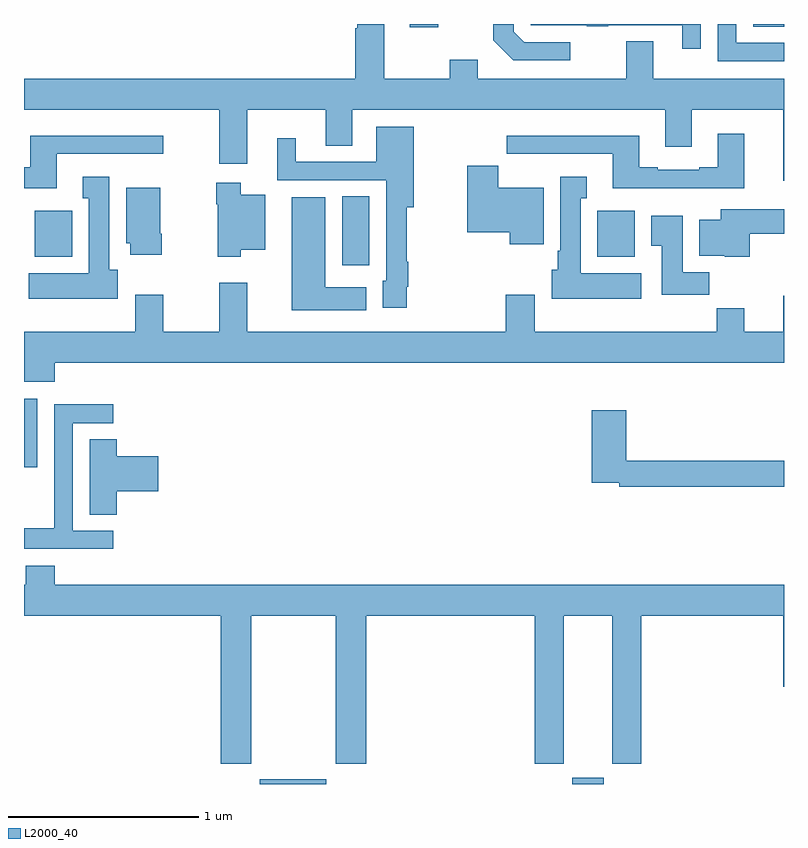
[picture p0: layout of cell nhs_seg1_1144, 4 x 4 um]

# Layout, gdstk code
import gdstk
lib = gdstk.Library(unit=1e-6, precision=1e-09)
def R(c, l, rs):  # rectangles x0, y0, x1, y1
    for r in rs: c.add(gdstk.rectangle(r[:2], r[2:], *l))
def P(c, l, *ps):  # polygons
    for p in ps: c.add(gdstk.Polygon(p, *l))
L2000_40 = (2000, 40)

nhs_seg1_1144 = lib.new_cell('nhs_seg1_1144')
R(nhs_seg1_1144, L2000_40, [(174.242,532.199,174.592,532.225), (175.886,532.199,176.05,532.233), (173,533.865,173.071,534.226), (174.674,534.93,174.817,535.292), (173.057,534.974,173.254,535.216), (176.018,534.974,176.215,535.216), (175.031,536.181,175.18,536.199), (176.838,536.185,177,536.199)])
P(nhs_seg1_1144, L2000_40, [(177,535.912),(176.311,535.912),(176.311,536.107),(176.171,536.107),(176.171,535.912),(175.387,535.912),(175.387,536.011),(175.24,536.011),(175.24,535.912),(174.895,535.912),(174.895,536.199),(174.755,536.199),(174.755,536.177),(174.743,536.177),(174.743,535.912),(173,535.912),(173,535.748),(174.028,535.748),(174.028,535.464),(174.175,535.464),(174.175,535.748),(174.587,535.748),(174.587,535.558),(174.727,535.558),(174.727,535.748),(176.375,535.748),(176.375,535.554),(176.515,535.554),(176.515,535.748),(176.996,535.748),(176.996,535.374),(177,535.374)],
  [(175.876,536.103),(175.632,536.103),(175.578,536.157),(175.578,536.199),(175.47,536.199),(175.47,536.113),(175.575,536.007),(175.876,536.007)],
  [(176.561,536.199),(175.668,536.199),(175.668,536.193),(175.963,536.193),(175.963,536.188),(176.075,536.188),(176.075,536.193),(176.465,536.193),(176.465,536.07),(176.561,536.07)],
  [(177,536.1),(176.748,536.1),(176.748,536.199),(176.652,536.199),(176.652,536.004),(177,536.004)],
  [(175.015,534.817),(175.022,534.817),(175.022,534.949),(175.015,534.949),(175.015,535.235),(175.051,535.235),(175.051,535.657),(174.854,535.657),(174.854,535.473),(174.43,535.473),(174.43,535.597),(174.332,535.597),(174.332,535.377),(174.906,535.377),(174.906,534.849),(174.887,534.849),(174.887,534.705),(175.015,534.705)],
  [(176.791,535.621),(176.651,535.621),(176.651,535.444),(176.555,535.444),(176.555,535.431),(176.335,535.431),(176.335,535.444),(176.239,535.444),(176.239,535.612),(175.542,535.612),(175.542,535.517),(175.651,535.517),(175.651,535.515),(176.099,535.515),(176.099,535.334),(176.791,535.334)],
  [(173.173,535.515),(173.734,535.515),(173.734,535.612),(173.033,535.612),(173.033,535.444),(173,535.444),(173,535.334),(173.173,535.334)],
  [(175.735,535.336),(175.495,535.336),(175.495,535.452),(175.334,535.452),(175.334,535.103),(175.556,535.103),(175.556,535.04),(175.735,535.04)],
  [(173.494,534.906),(173.449,534.906),(173.449,535.396),(173.309,535.396),(173.309,535.283),(173.342,535.283),(173.342,534.886),(173.025,534.886),(173.025,534.752),(173.494,534.752)],
  [(176.248,534.886),(175.93,534.886),(175.93,535.283),(175.963,535.283),(175.963,535.396),(175.823,535.396),(175.823,535.006),(175.808,535.006),(175.808,534.906),(175.778,534.906),(175.778,534.752),(176.248,534.752)],
  [(174.142,535.01),(174.271,535.01),(174.271,535.3),(174.142,535.3),(174.142,535.363),(174.013,535.363),(174.013,535.25),(174.02,535.25),(174.02,534.974),(174.142,534.974)],
  [(173.724,535.096),(173.716,535.096),(173.716,535.336),(173.537,535.336),(173.537,535.044),(173.558,535.044),(173.558,534.984),(173.724,534.984)],
  [(174.802,534.814),(174.586,534.814),(174.586,535.288),(174.41,535.288),(174.41,534.692),(174.802,534.692)],
  [(176.819,535.096),(177,535.096),(177,535.225),(176.666,535.225),(176.666,535.168),(176.555,535.168),(176.555,534.98),(176.688,534.98),(176.688,534.974),(176.819,534.974)],
  [(176.606,534.892),(176.467,534.892),(176.467,535.189),(176.3,535.189),(176.3,535.033),(176.357,535.033),(176.357,534.774),(176.606,534.774)],
  [(173.162,534.416),(177,534.416),(177,534.769),(176.996,534.769),(176.996,534.58),(176.791,534.58),(176.791,534.704),(176.647,534.704),(176.647,534.58),(175.687,534.58),(175.687,534.775),(175.535,534.775),(175.535,534.58),(174.175,534.58),(174.175,534.838),(174.028,534.838),(174.028,534.58),(173.733,534.58),(173.733,534.775),(173.585,534.775),(173.585,534.58),(173,534.58),(173,534.416),(173.002,534.416),(173.002,534.317),(173.162,534.317)],
  [(173.47,533.532),(173.256,533.532),(173.256,534.099),(173.47,534.099),(173.47,534.198),(173.16,534.198),(173.16,533.768),(173.158,533.768),(173.158,533.545),(173,533.545),(173,533.436),(173.47,533.436)],
  [(177,533.9),(176.171,533.9),(176.171,534.166),(175.988,534.166),(175.988,533.784),(176.134,533.784),(176.134,533.764),(177,533.764)],
  [(173.489,533.741),(173.707,533.741),(173.707,533.924),(173.489,533.924),(173.489,534.014),(173.345,534.014),(173.345,533.617),(173.489,533.617)],
  [(174.195,533.084),(174.64,533.084),(174.64,532.305),(174.8,532.305),(174.8,533.084),(175.688,533.084),(175.688,532.305),(175.84,532.305),(175.84,533.084),(176.096,533.084),(176.096,532.305),(176.249,532.305),(176.249,533.084),(176.996,533.084),(176.996,532.71),(177,532.71),(177,533.248),(173.162,533.248),(173.162,533.347),(173.009,533.347),(173.009,533.248),(173,533.248),(173,533.084),(174.035,533.084),(174.035,532.305),(174.195,532.305)])

lib.write_gds('nhs_seg1_1144.gds')
